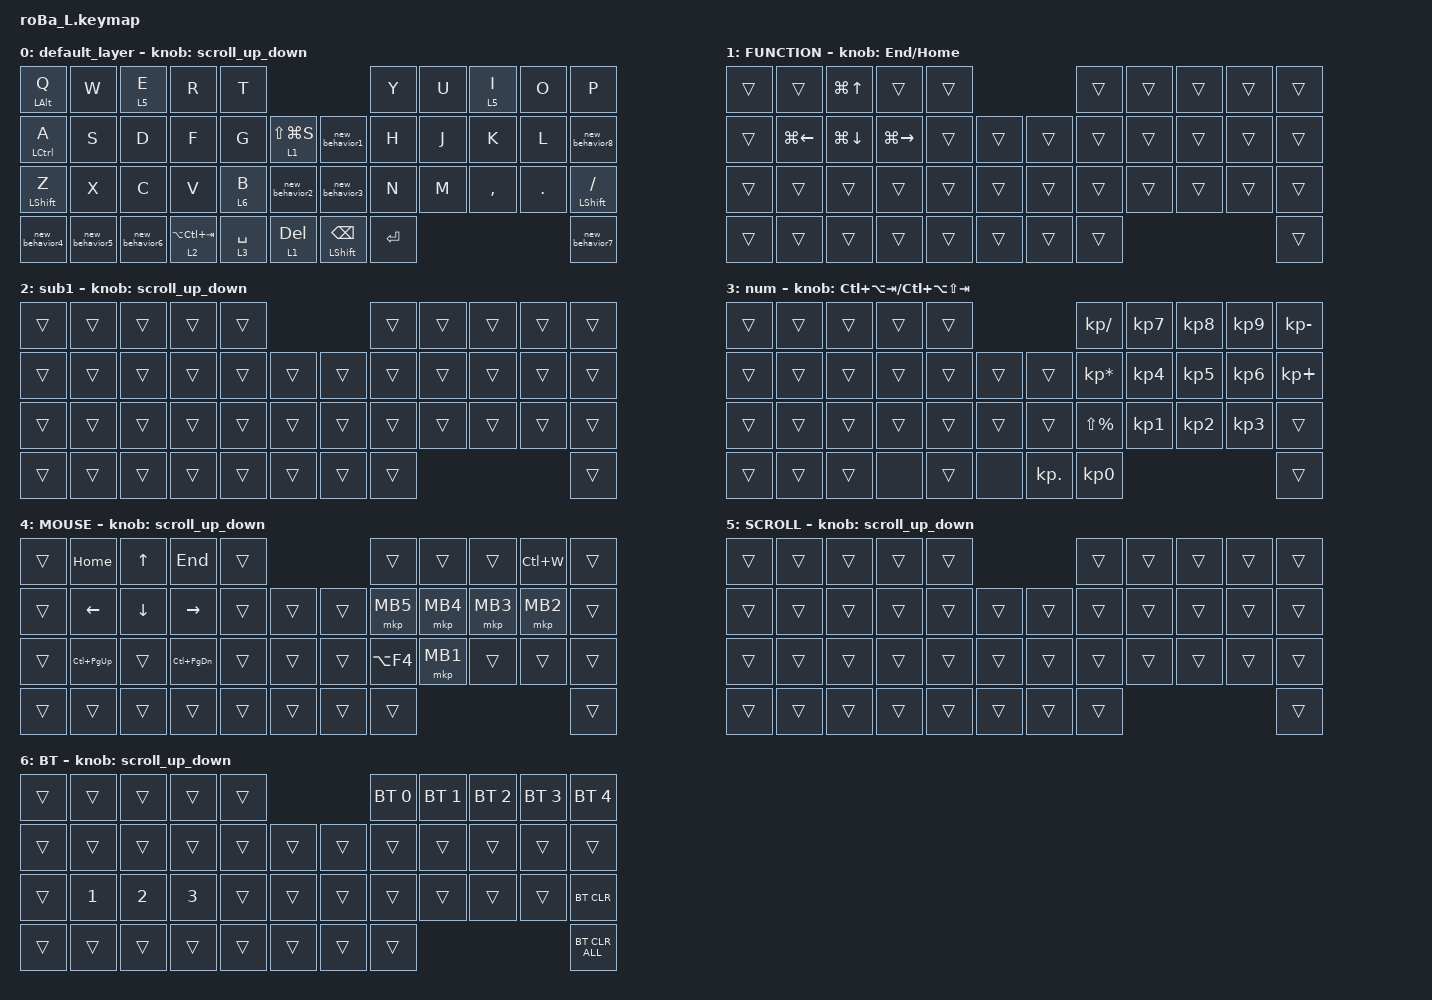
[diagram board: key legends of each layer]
#include <behaviors.dtsi>
#include <dt-bindings/zmk/bt.h>
#include <dt-bindings/zmk/keys.h>
#include <dt-bindings/zmk/pointing.h>

#define ZMK_POINTING_DEFAULT_SCRL_VAL 100
#define MOUSE 4
#define SCROLL 5
#define NUM 3

&mt {
    flavor = "balanced";
    tapping-term-ms = <200>;
    quick-tap-ms = <175>;
    require-prior-idle-ms = <80>;
};

/ {
    combos {
        compatible = "zmk,combos";

        tab {
            bindings = <&kp TAB>;
            key-positions = <11 12>;
        };

        all {
            bindings = <&kp LC(A)>;
            key-positions = <10 11>;
        };

        f2 {
            bindings = <&kp F2>;
            key-positions = <19 20>;
        };

        cz {
            bindings = <&kp LC(Z)>;
            key-positions = <23 22>;
        };

        cy {
            bindings = <&kp LC(Y)>;
            key-positions = <0 1>;
        };

        henkan {
            bindings = <&kp INT4>;
            key-positions = <7 8>;
        };

        muhenkan {
            bindings = <&kp INT_MUHENKAN>;
            key-positions = <1 2>;
        };

        cc {
            bindings = <&kp LC(C)>;
            key-positions = <12 13>;
        };

        cv {
            bindings = <&kp LC(V)>;
            key-positions = <25 24>;
        };

        cav {
            bindings = <&cavve>;
            key-positions = <2 3>;
        };

        alt_DN {
            bindings = <&kp LA(DOWN_ARROW)>;
            key-positions = <31 32>;
        };

        c5 {
            bindings = <&kp F4>;
            key-positions = <21 20>;
        };
    };

    macros {
        cavve: cavve {
            compatible = "zmk,behavior-macro";
            #binding-cells = <0>;
            bindings = <&kp LC(LA(V)) &kp V &kp ENTER>;
            label = "CAVVE";
        };
    };

    behaviors {
        scroll_up_down: scroll_up_down {
            compatible = "zmk,behavior-sensor-rotate";
            #sensor-binding-cells = <0>;
            bindings = <&msc SCRL_DOWN>, <&msc SCRL_UP>;

            tap-ms = <20>;
            label = "scroll_up_down";
        };

        scroll_right_left: scroll_right_left {
            compatible = "zmk,behavior-sensor-rotate";
            #sensor-binding-cells = <0>;
            bindings = <&msc SCRL_LEFT>, <&msc SCRL_RIGHT>;

            tap-ms = <20>;
            label = "scroll_right_left";
        };

        sl_250: sl_250 {
            compatible = "zmk,behavior-sticky-key";
            label = "SL_250";
            bindings = <&mo>;
            #binding-cells = <1>;
            release-after-ms = <250>;
        };

        new_behavior1: new_behavior1 {
            compatible = "zmk,behavior-tap-dance";
            label = "NEW_BEHAVIOR1";
            #binding-cells = <0>;
            bindings = <&kp LS(N8)>, <&kp LS(N9)>;
        };

        new_behavior2: new_behavior2 {
            compatible = "zmk,behavior-tap-dance";
            label = "NEW_BEHAVIOR2";
            #binding-cells = <0>;
            bindings =
                <&lt 6 RIGHT_BRACKET>,
                <&kp NUHS>,
                <&kp LS(RIGHT_BRACKET)>,
                <&kp LS(NUHS)>;
        };

        new_behavior3: new_behavior3 {
            compatible = "zmk,behavior-tap-dance";
            label = "NEW_BEHAVIOR3";
            #binding-cells = <0>;
            bindings = <&kp SQT>, <&kp SEMICOLON>;
        };

        new_behavior4: new_behavior4 {
            compatible = "zmk,behavior-tap-dance";
            label = "NEW_BEHAVIOR4";
            #binding-cells = <0>;
            bindings = <&kp LS(NUMBER_6)>, <&kp LS(NUMBER_1)>;
        };

        new_behavior5: new_behavior5 {
            compatible = "zmk,behavior-tap-dance";
            label = "NEW_BEHAVIOR5";
            #binding-cells = <0>;
            bindings = <&mt LEFT_WIN LEFT_BRACKET>, <&kp LS(NUMBER_3)>;
        };

        new_behavior6: new_behavior6 {
            compatible = "zmk,behavior-tap-dance";
            label = "NEW_BEHAVIOR6";
            #binding-cells = <0>;
            bindings = <&kp LS(N7)>, <&kp LS(NUMBER_2)>, <&kp LS(LEFT_BRACKET)>;
        };

        new_behavior7: new_behavior7 {
            compatible = "zmk,behavior-tap-dance";
            label = "NEW_BEHAVIOR7";
            #binding-cells = <0>;
            bindings = <&kp LS(NUMBER_4)>, <&kp INT3>, <&kp EQUAL>;
        };

        new_behavior8: new_behavior8 {
            compatible = "zmk,behavior-tap-dance";
            label = "NEW_BEHAVIOR8";
            #binding-cells = <0>;
            bindings = <&lt 4 MINUS>, <&kp LS(INTERNATIONAL_1)>;
        };

        new_behavior9: new_behavior9 {
            compatible = "zmk,behavior-tap-dance";
            label = "NEW_BEHAVIOR9";
            #binding-cells = <0>;
            bindings = <&mt LEFT_ALT LA(LC(TAB))>;
        };
    };

    keymap {
        compatible = "zmk,keymap";

        default_layer {
            bindings = <
&mt LEFT_ALT Q    &kp W           &lt 5 E         &kp R              &kp T                                                       &kp Y      &kp U  &lt 5 I    &kp O    &kp P
&mt LCTRL A       &kp S           &kp D           &kp F              &kp G        &lt 1 LS(LG(S))      &new_behavior1            &kp H      &kp J  &kp K      &kp L    &new_behavior8
&mt LEFT_SHIFT Z  &kp X           &kp C           &kp V              &lt 6 B      &new_behavior2       &new_behavior3            &kp N      &kp M  &kp COMMA  &kp DOT  &mt LEFT_SHIFT SLASH
&new_behavior4    &new_behavior5  &new_behavior6  &lt 2 LA(LC(TAB))  &lt 3 SPACE  &lt 1 DELETE         &mt LEFT_SHIFT BACKSPACE  &kp ENTER                             &new_behavior7
            >;

            sensor-bindings = <&scroll_up_down>;
        };

        FUNCTION {
            bindings = <
&trans  &trans              &kp LG(UP_ARROW)    &trans               &trans                      &trans  &trans  &trans  &trans  &trans
&trans  &kp LG(LEFT_ARROW)  &kp LG(DOWN_ARROW)  &kp LG(RIGHT_ARROW)  &trans  &trans      &trans  &trans  &trans  &trans  &trans  &trans
&trans  &trans              &trans              &trans               &trans  &trans      &trans  &trans  &trans  &trans  &trans  &trans
&trans  &trans              &trans              &trans               &trans  &trans      &trans  &trans                          &trans
            >;

            sensor-bindings = <&inc_dec_kp END HOME>;
        };

        sub1 {
            bindings = <
&trans  &trans  &trans  &trans  &trans                      &trans  &trans  &trans  &trans  &trans
&trans  &trans  &trans  &trans  &trans  &trans      &trans  &trans  &trans  &trans  &trans  &trans
&trans  &trans  &trans  &trans  &trans  &trans      &trans  &trans  &trans  &trans  &trans  &trans
&trans  &trans  &trans  &trans  &trans  &trans      &trans  &trans                          &trans
            >;

            sensor-bindings = <&scroll_up_down>;
        };

        num {
            bindings = <
&trans  &trans  &trans  &trans  &trans                          &kp KP_DIVIDE    &kp KP_NUMBER_7  &kp KP_NUMBER_8  &kp KP_NUMBER_9  &kp KP_SUBTRACT
&trans  &trans  &trans  &trans  &trans  &trans      &trans      &kp KP_MULTIPLY  &kp KP_NUMBER_4  &kp KP_NUMBER_5  &kp KP_NUMBER_6  &kp KP_PLUS
&trans  &trans  &trans  &trans  &trans  &trans      &trans      &kp LS(PERCENT)  &kp KP_NUMBER_1  &kp KP_NUMBER_2  &kp KP_NUMBER_3  &trans
&trans  &trans  &trans  &none   &trans  &none       &kp KP_DOT  &kp KP_NUMBER_0                                                     &trans
            >;

            sensor-bindings = <&inc_dec_kp LC(LA(TAB)) LC(LA(LS(TAB)))>;
        };

        MOUSE {
            bindings = <
&trans  &kp HOME        &kp UP_ARROW    &kp END          &trans                      &trans      &trans    &trans    &kp LC(W)  &trans
&trans  &kp LEFT_ARROW  &kp DOWN_ARROW  &kp RIGHT_ARROW  &trans  &trans      &trans  &mkp MB5    &mkp MB4  &mkp MB3  &mkp MB2   &trans
&trans  &kp LC(PG_UP)   &trans          &kp LC(PG_DN)    &trans  &trans      &trans  &kp LA(F4)  &mkp MB1  &trans    &trans     &trans
&trans  &trans          &trans          &trans           &trans  &trans      &trans  &trans                                     &trans
            >;

            sensor-bindings = <&scroll_up_down>;
        };

        SCROLL {
            bindings = <
&trans  &trans  &trans  &trans  &trans                      &trans  &trans  &trans  &trans  &trans
&trans  &trans  &trans  &trans  &trans  &trans      &trans  &trans  &trans  &trans  &trans  &trans
&trans  &trans  &trans  &trans  &trans  &trans      &trans  &trans  &trans  &trans  &trans  &trans
&trans  &trans  &trans  &trans  &trans  &trans      &trans  &trans                          &trans
            >;

            sensor-bindings = <&scroll_up_down>;
        };

        BT {
            bindings = <
&trans  &trans        &trans        &trans        &trans                      &bt BT_SEL 0  &bt BT_SEL 1  &bt BT_SEL 2  &bt BT_SEL 3  &bt BT_SEL 4
&trans  &trans        &trans        &trans        &trans  &trans      &trans  &trans        &trans        &trans        &trans        &trans
&trans  &kp NUMBER_1  &kp NUMBER_2  &kp NUMBER_3  &trans  &trans      &trans  &trans        &trans        &trans        &trans        &bt BT_CLR
&trans  &trans        &trans        &trans        &trans  &trans      &trans  &trans                                                  &bt BT_CLR_ALL
            >;

            sensor-bindings = <&scroll_up_down>;
        };
    };
};
